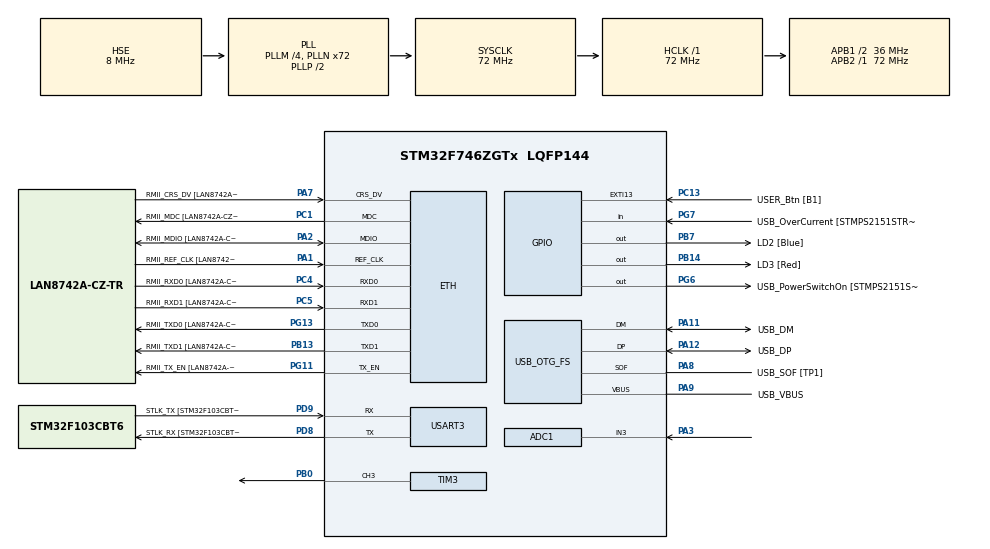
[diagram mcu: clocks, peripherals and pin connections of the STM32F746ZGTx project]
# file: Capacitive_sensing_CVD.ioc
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ADC1.Channel-0\#ChannelRegularConversion=ADC_CHANNEL_3
ADC1.NbrOfConversionFlag=1
ADC1.Rank-0\#ChannelRegularConversion=1
ADC1.SamplingTime-0\#ChannelRegularConversion=ADC_SAMPLETIME_3CYCLES
ADC1.master=1
ETH.MediaInterface=ETH_MEDIA_INTERFACE_RMII
ETH.PHY_Name=LAN8742A_PHY_ADDRESS
ETH.PHY_Value=0
ETH.PhyAddress=0
Mcu.Family=STM32F7
Mcu.Name=STM32F746ZGTx
Mcu.Package=LQFP144
NVIC.PriorityGroup=NVIC_PRIORITYGROUP_4
PA1.GPIO_Label=RMII_REF_CLK [LAN8742A-CZ-TR_REFCLK0]
PA1.Mode=RMII
PA1.Signal=ETH_REF_CLK
PA10.GPIO_Label=USB_ID
PA10.Signal=USB_OTG_FS_ID
PA11.GPIO_Label=USB_DM
PA11.Mode=Device_Only
PA11.Signal=USB_OTG_FS_DM
PA12.GPIO_Label=USB_DP
PA12.Mode=Device_Only
PA12.Signal=USB_OTG_FS_DP
PA13.GPIO_Label=TMS
PA13.Mode=Serial_Wire
PA13.Signal=SYS_JTMS-SWDIO
PA14.GPIO_Label=TCK
PA14.Mode=Serial_Wire
PA14.Signal=SYS_JTCK-SWCLK
PA2.GPIO_Label=RMII_MDIO [LAN8742A-CZ-TR_MDIO]
PA2.Mode=RMII
PA2.Signal=ETH_MDIO
PA3.Signal=ADCx_IN3
PA7.GPIO_Label=RMII_CRS_DV [LAN8742A-CZ-TR_CRS_DV]
PA7.Mode=RMII
PA7.Signal=ETH_CRS_DV
PA8.GPIO_Label=USB_SOF [TP1]
PA8.Mode=Activate_SOF_FS
PA8.Signal=USB_OTG_FS_SOF
PA9.GPIO_Label=USB_VBUS
PA9.Mode=Activate_VBUS
PA9.Signal=USB_OTG_FS_VBUS
PB0.Signal=S_TIM3_CH3
PB13.GPIO_Label=RMII_TXD1 [LAN8742A-CZ-TR_TXD1]
PB13.Mode=RMII
PB13.Signal=ETH_TXD1
PB14.GPIO_Label=LD3 [Red]
PB14.Signal=GPIO_Output
PB3.GPIO_Label=SW0
PB3.Signal=SYS_JTDO-SWO
PB7.GPIO_Label=LD2 [Blue]
PB7.Signal=GPIO_Output
PC1.GPIO_Label=RMII_MDC [LAN8742A-CZ-TR_MDC]
PC1.Mode=RMII
PC1.Signal=ETH_MDC
PC13.GPIO_Label=USER_Btn [B1]
PC13.Signal=GPXTI13
PC14/OSC32_IN.Mode=LSE-External-Oscillator
PC14/OSC32_IN.Signal=RCC_OSC32_IN
PC15/OSC32_OUT.Mode=LSE-External-Oscillator
PC15/OSC32_OUT.Signal=RCC_OSC32_OUT
PC4.GPIO_Label=RMII_RXD0 [LAN8742A-CZ-TR_RXD0]
PC4.Mode=RMII
PC4.Signal=ETH_RXD0
PC5.GPIO_Label=RMII_RXD1 [LAN8742A-CZ-TR_RXD1]
PC5.Mode=RMII
PC5.Signal=ETH_RXD1
PD8.GPIO_Label=STLK_RX [STM32F103CBT6_PA3]
PD8.Mode=Asynchronous
PD8.Signal=USART3_TX
PD9.GPIO_Label=STLK_TX [STM32F103CBT6_PA2]
PD9.Mode=Asynchronous
PD9.Signal=USART3_RX
PG11.GPIO_Label=RMII_TX_EN [LAN8742A-CZ-TR_TXEN]
PG11.Mode=RMII
PG11.Signal=ETH_TX_EN
PG13.GPIO_Label=RMII_TXD0 [LAN8742A-CZ-TR_TXD0]
PG13.Mode=RMII
PG13.Signal=ETH_TXD0
PG6.GPIO_Label=USB_PowerSwitchOn [STMPS2151STR_EN]
PG6.Signal=GPIO_Output
PG7.GPIO_Label=USB_OverCurrent [STMPS2151STR_FAULT]
PG7.Signal=GPIO_Input
PH0/OSC_IN.GPIO_Label=MCO [STM32F103CBT6_PA8]
PH0/OSC_IN.Mode=HSE-External-Clock-Source
PH0/OSC_IN.Signal=RCC_OSC_IN
PH1/OSC_OUT.Mode=HSE-External-Clock-Source
PH1/OSC_OUT.Signal=RCC_OSC_OUT
ProjectManager.HeapSize=0x200
ProjectManager.StackSize=0x400
ProjectManager.TargetToolchain=EWARM V8
RCC.48MHZClocksFreq_Value=24000000
RCC.AHBFreq_Value=72000000
RCC.APB1CLKDivider=RCC_HCLK_DIV2
RCC.APB1Freq_Value=36000000
RCC.APB1TimFreq_Value=72000000
RCC.APB2Freq_Value=72000000
RCC.APB2TimFreq_Value=72000000
RCC.CortexFreq_Value=72000000
RCC.HCLKFreq_Value=72000000
RCC.HSE_VALUE=8000000
RCC.HSI_VALUE=16000000
RCC.PLLM=4
RCC.PLLMUL=RCC_PLL_MUL9
RCC.PLLN=72
RCC.PLLQ=3
RCC.PRESCALERUSB=RCC_USBCLKSOURCE_PLL_DIV1_5
RCC.SYSCLKFreq_VALUE=72000000
RCC.SYSCLKSource=RCC_SYSCLKSOURCE_PLLCLK
RCC.SYSCLKSourceVirtual=RCC_SYSCLKSOURCE_PLLCLK
RCC.USBFreq_Value=48000000
RCC.VCOOutputFreq_Value=144000000
SH.ADCx_IN3.0=ADC1_IN3,IN3
SH.S_TIM3_CH3.0=TIM3_CH3,PWM Generation3 CH3
TIM3.AutoReloadPreload=TIM_AUTORELOAD_PRELOAD_ENABLE
TIM3.Channel-PWM\ Generation3\ CH3=TIM_CHANNEL_3
USART3.VirtualMode-Asynchronous=VM_ASYNC
USB_OTG_FS.VirtualMode=Device_Only
board=NUCLEO-F746ZG

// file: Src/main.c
/* USER CODE BEGIN Header */
/**
  ******************************************************************************
  * @file           : main.c
  * @brief          : Main program body
  ******************************************************************************
  ** This notice applies to any and all portions of this file
  * that are not between comment pairs USER CODE BEGIN and
  * USER CODE END. Other portions of this file, whether
  * inserted by the user or by software development tools
  * are owned by their respective copyright owners.
  *
  * COPYRIGHT(c) 2019 STMicroelectronics
  *
  * Redistribution and use in source and binary forms, with or without modification,
  * are permitted provided that the following conditions are met:
  *   1. Redistributions of source code must retain the above copyright notice,
  *      this list of conditions and the following disclaimer.
  *   2. Redistributions in binary form must reproduce the above copyright notice,
  *      this list of conditions and the following disclaimer in the documentation
  *      and/or other materials provided with the distribution.
  *   3. Neither the name of STMicroelectronics nor the names of its contributors
  *      may be used to endorse or promote products derived from this software
  *      without specific prior written permission.
  *
  * THIS SOFTWARE IS PROVIDED BY THE COPYRIGHT HOLDERS AND CONTRIBUTORS "AS IS"
  * AND ANY EXPRESS OR IMPLIED WARRANTIES, INCLUDING, BUT NOT LIMITED TO, THE
  * IMPLIED WARRANTIES OF MERCHANTABILITY AND FITNESS FOR A PARTICULAR PURPOSE ARE
  * DISCLAIMED. IN NO EVENT SHALL THE COPYRIGHT HOLDER OR CONTRIBUTORS BE LIABLE
  * FOR ANY DIRECT, INDIRECT, INCIDENTAL, SPECIAL, EXEMPLARY, OR CONSEQUENTIAL
  * DAMAGES (INCLUDING, BUT NOT LIMITED TO, PROCUREMENT OF SUBSTITUTE GOODS OR
  * SERVICES; LOSS OF USE, DATA, OR PROFITS; OR BUSINESS INTERRUPTION) HOWEVER
  * CAUSED AND ON ANY THEORY OF LIABILITY, WHETHER IN CONTRACT, STRICT LIABILITY,
  * OR TORT (INCLUDING NEGLIGENCE OR OTHERWISE) ARISING IN ANY WAY OUT OF THE USE
  * OF THIS SOFTWARE, EVEN IF ADVISED OF THE POSSIBILITY OF SUCH DAMAGE.
  *
  ******************************************************************************
  */
/* USER CODE END Header */

#include "main.h"

ADC_HandleTypeDef hadc1;

ETH_HandleTypeDef heth;

TIM_HandleTypeDef htim3;

UART_HandleTypeDef huart3;

PCD_HandleTypeDef hpcd_USB_OTG_FS;

void SystemClock_Config(void);
static void MX_GPIO_Init(void);
static void MX_ETH_Init(void);
static void MX_USART3_UART_Init(void);
static void MX_USB_OTG_FS_PCD_Init(void);
static void MX_ADC1_Init(void);
static void MX_TIM3_Init(void);

/* USER CODE BEGIN 0 */
uint8_t set_ADC_toVREF(ADC_HandleTypeDef *adc);
uint8_t set_ADC_toTOUCH(ADC_HandleTypeDef *adc);
uint8_t set_GND_toTOUCH(void);
uint32_t get_CAP_value(ADC_HandleTypeDef *adc);
void user_pwm3_setvalue(uint16_t value,TIM_HandleTypeDef *tim);
uint32_t ADC_out = 0;
uint32_t low = 0, low2 = 0, low3 = 0, high = 0;
/* USER CODE END 0 */

int main(void)
{

  /* MCU Configuration--------------------------------------------------------*/

  /* Reset of all peripherals, Initializes the Flash interface and the Systick. */
  HAL_Init();

  /* Configure the system clock */
  SystemClock_Config();

  /* Initialize all configured peripherals */
  MX_GPIO_Init();
  MX_ETH_Init();
  MX_USART3_UART_Init();
  MX_USB_OTG_FS_PCD_Init();
  MX_ADC1_Init();
  MX_TIM3_Init();
  /* USER CODE BEGIN 2 */
  HAL_TIM_PWM_Start(&htim3, TIM_CHANNEL_3);

  /* USER CODE END 2 */

  /* Infinite loop */
  while (1)
  {

    /* USER CODE BEGIN 3 */
    ADC_out = get_CAP_value(&hadc1);
    user_pwm3_setvalue(((250-ADC_out)*5),&htim3);
    HAL_TIM_PWM_Start(&htim3, TIM_CHANNEL_3);
    if(ADC_out < 180)
    {
      low++;

    }
    if(ADC_out < 150)
    {
      low2++;

    }
        if(ADC_out < 100)
    {
      low3++;

    }
    if(ADC_out > 210)
      {
        high++;
      }
  }
  /* USER CODE END 3 */
}

void SystemClock_Config(void)
{
  RCC_OscInitTypeDef RCC_OscInitStruct = {0};
  RCC_ClkInitTypeDef RCC_ClkInitStruct = {0};
  RCC_PeriphCLKInitTypeDef PeriphClkInitStruct = {0};

  /**Configure LSE Drive Capability
  */
  HAL_PWR_EnableBkUpAccess();
  /**Configure the main internal regulator output voltage
  */
  __HAL_RCC_PWR_CLK_ENABLE();
  __HAL_PWR_VOLTAGESCALING_CONFIG(PWR_REGULATOR_VOLTAGE_SCALE3);
  /**Initializes the CPU, AHB and APB busses clocks
  */
  RCC_OscInitStruct.OscillatorType = RCC_OSCILLATORTYPE_HSE;
  RCC_OscInitStruct.HSEState = RCC_HSE_BYPASS;
  RCC_OscInitStruct.PLL.PLLState = RCC_PLL_ON;
  RCC_OscInitStruct.PLL.PLLSource = RCC_PLLSOURCE_HSE;
  RCC_OscInitStruct.PLL.PLLM = 4;
  RCC_OscInitStruct.PLL.PLLN = 72;
  RCC_OscInitStruct.PLL.PLLP = RCC_PLLP_DIV2;
  RCC_OscInitStruct.PLL.PLLQ = 3;
  if (HAL_RCC_OscConfig(&RCC_OscInitStruct) != HAL_OK)
  {
    Error_Handler();
  }
  /**Initializes the CPU, AHB and APB busses clocks
  */
  RCC_ClkInitStruct.ClockType = RCC_CLOCKTYPE_HCLK|RCC_CLOCKTYPE_SYSCLK
                              |RCC_CLOCKTYPE_PCLK1|RCC_CLOCKTYPE_PCLK2;
  RCC_ClkInitStruct.SYSCLKSource = RCC_SYSCLKSOURCE_PLLCLK;
  RCC_ClkInitStruct.AHBCLKDivider = RCC_SYSCLK_DIV1;
  RCC_ClkInitStruct.APB1CLKDivider = RCC_HCLK_DIV2;
  RCC_ClkInitStruct.APB2CLKDivider = RCC_HCLK_DIV1;

  if (HAL_RCC_ClockConfig(&RCC_ClkInitStruct, FLASH_LATENCY_2) != HAL_OK)
  {
    Error_Handler();
  }
  PeriphClkInitStruct.PeriphClockSelection = RCC_PERIPHCLK_USART3|RCC_PERIPHCLK_CLK48;
  PeriphClkInitStruct.Usart3ClockSelection = RCC_USART3CLKSOURCE_PCLK1;
  PeriphClkInitStruct.Clk48ClockSelection = RCC_CLK48SOURCE_PLL;
  if (HAL_RCCEx_PeriphCLKConfig(&PeriphClkInitStruct) != HAL_OK)
  {
    Error_Handler();
  }
}

static void MX_ADC1_Init(void)
{

  ADC_ChannelConfTypeDef sConfig = {0};

  /**Configure the global features of the ADC (Clock, Resolution, Data Alignment and number of conversion)
  */
  hadc1.Instance = ADC1;
  hadc1.Init.ClockPrescaler = ADC_CLOCK_SYNC_PCLK_DIV2;
  hadc1.Init.Resolution = ADC_RESOLUTION_12B;
  hadc1.Init.ScanConvMode = ADC_SCAN_DISABLE;
  hadc1.Init.ContinuousConvMode = DISABLE;
  hadc1.Init.DiscontinuousConvMode = DISABLE;
  hadc1.Init.ExternalTrigConvEdge = ADC_EXTERNALTRIGCONVEDGE_NONE;
  hadc1.Init.ExternalTrigConv = ADC_SOFTWARE_START;
  hadc1.Init.DataAlign = ADC_DATAALIGN_RIGHT;
  hadc1.Init.NbrOfConversion = 1;
  hadc1.Init.DMAContinuousRequests = DISABLE;
  hadc1.Init.EOCSelection = ADC_EOC_SINGLE_CONV;
  if (HAL_ADC_Init(&hadc1) != HAL_OK)
  {
    Error_Handler();
  }
  /**Configure for the selected ADC regular channel its corresponding rank in the sequencer and its sample time.
  */
  sConfig.Channel = ADC_CHANNEL_3;
  sConfig.Rank = ADC_REGULAR_RANK_1;
  sConfig.SamplingTime = ADC_SAMPLETIME_3CYCLES;
  if (HAL_ADC_ConfigChannel(&hadc1, &sConfig) != HAL_OK)
  {
    Error_Handler();
  }

}

static void MX_ETH_Init(void)
{

   uint8_t MACAddr[6] ;

  heth.Instance = ETH;
  heth.Init.AutoNegotiation = ETH_AUTONEGOTIATION_ENABLE;
  heth.Init.PhyAddress = LAN8742A_PHY_ADDRESS;
  MACAddr[0] = 0x00;
  MACAddr[1] = 0x80;
  MACAddr[2] = 0xE1;
  MACAddr[3] = 0x00;
  MACAddr[4] = 0x00;
  MACAddr[5] = 0x00;
  heth.Init.MACAddr = &MACAddr[0];
  heth.Init.RxMode = ETH_RXPOLLING_MODE;
  heth.Init.ChecksumMode = ETH_CHECKSUM_BY_HARDWARE;
  heth.Init.MediaInterface = ETH_MEDIA_INTERFACE_RMII;

  if (HAL_ETH_Init(&heth) != HAL_OK)
  {
    Error_Handler();
  }

}

static void MX_TIM3_Init(void)
{

  TIM_MasterConfigTypeDef sMasterConfig = {0};
  TIM_OC_InitTypeDef sConfigOC = {0};

  htim3.Instance = TIM3;
  htim3.Init.Prescaler = 1;
  htim3.Init.CounterMode = TIM_COUNTERMODE_UP;
  htim3.Init.Period = 2000-1;
  htim3.Init.ClockDivision = TIM_CLOCKDIVISION_DIV1;
  htim3.Init.AutoReloadPreload = TIM_AUTORELOAD_PRELOAD_ENABLE;
  if (HAL_TIM_PWM_Init(&htim3) != HAL_OK)
  {
    Error_Handler();
  }
  sMasterConfig.MasterOutputTrigger = TIM_TRGO_RESET;
  sMasterConfig.MasterSlaveMode = TIM_MASTERSLAVEMODE_DISABLE;
  if (HAL_TIMEx_MasterConfigSynchronization(&htim3, &sMasterConfig) != HAL_OK)
  {
    Error_Handler();
  }
  sConfigOC.OCMode = TIM_OCMODE_PWM1;
  sConfigOC.Pulse = 0;
  sConfigOC.OCPolarity = TIM_OCPOLARITY_HIGH;
  sConfigOC.OCFastMode = TIM_OCFAST_DISABLE;
  if (HAL_TIM_PWM_ConfigChannel(&htim3, &sConfigOC, TIM_CHANNEL_3) != HAL_OK)
  {
    Error_Handler();
  }
  HAL_TIM_MspPostInit(&htim3);

}

static void MX_USART3_UART_Init(void)
{

  huart3.Instance = USART3;
  huart3.Init.BaudRate = 115200;
  huart3.Init.WordLength = UART_WORDLENGTH_8B;
  huart3.Init.StopBits = UART_STOPBITS_1;
  huart3.Init.Parity = UART_PARITY_NONE;
  huart3.Init.Mode = UART_MODE_TX_RX;
  huart3.Init.HwFlowCtl = UART_HWCONTROL_NONE;
  huart3.Init.OverSampling = UART_OVERSAMPLING_16;
  huart3.Init.OneBitSampling = UART_ONE_BIT_SAMPLE_DISABLE;
  huart3.AdvancedInit.AdvFeatureInit = UART_ADVFEATURE_NO_INIT;
  if (HAL_UART_Init(&huart3) != HAL_OK)
  {
    Error_Handler();
  }

}

static void MX_USB_OTG_FS_PCD_Init(void)
{

  hpcd_USB_OTG_FS.Instance = USB_OTG_FS;
  hpcd_USB_OTG_FS.Init.dev_endpoints = 6;
  hpcd_USB_OTG_FS.Init.speed = PCD_SPEED_FULL;
  hpcd_USB_OTG_FS.Init.dma_enable = DISABLE;
  hpcd_USB_OTG_FS.Init.ep0_mps = DEP0CTL_MPS_64;
  hpcd_USB_OTG_FS.Init.phy_itface = PCD_PHY_EMBEDDED;
  hpcd_USB_OTG_FS.Init.Sof_enable = ENABLE;
  hpcd_USB_OTG_FS.Init.low_power_enable = DISABLE;
  hpcd_USB_OTG_FS.Init.lpm_enable = DISABLE;
  hpcd_USB_OTG_FS.Init.vbus_sensing_enable = ENABLE;
  hpcd_USB_OTG_FS.Init.use_dedicated_ep1 = DISABLE;
  if (HAL_PCD_Init(&hpcd_USB_OTG_FS) != HAL_OK)
  {
    Error_Handler();
  }

}

static void MX_GPIO_Init(void)
{
  GPIO_InitTypeDef GPIO_InitStruct = {0};

  /* GPIO Ports Clock Enable */
  __HAL_RCC_GPIOC_CLK_ENABLE();
  __HAL_RCC_GPIOH_CLK_ENABLE();
  __HAL_RCC_GPIOA_CLK_ENABLE();
  __HAL_RCC_GPIOB_CLK_ENABLE();
  __HAL_RCC_GPIOD_CLK_ENABLE();
  __HAL_RCC_GPIOG_CLK_ENABLE();

  /*Configure GPIO pin Output Level */
  HAL_GPIO_WritePin(GPIOB, LD3_Pin|LD2_Pin, GPIO_PIN_RESET);

  /*Configure GPIO pin Output Level */
  HAL_GPIO_WritePin(USB_PowerSwitchOn_GPIO_Port, USB_PowerSwitchOn_Pin, GPIO_PIN_RESET);

  /*Configure GPIO pin : USER_Btn_Pin */
  GPIO_InitStruct.Pin = USER_Btn_Pin;
  GPIO_InitStruct.Mode = GPIO_MODE_IT_RISING;
  GPIO_InitStruct.Pull = GPIO_NOPULL;
  HAL_GPIO_Init(USER_Btn_GPIO_Port, &GPIO_InitStruct);

  /*Configure GPIO pins : LD3_Pin LD2_Pin */
  GPIO_InitStruct.Pin = LD3_Pin|LD2_Pin;
  GPIO_InitStruct.Mode = GPIO_MODE_OUTPUT_PP;
  GPIO_InitStruct.Pull = GPIO_NOPULL;
  GPIO_InitStruct.Speed = GPIO_SPEED_FREQ_LOW;
  HAL_GPIO_Init(GPIOB, &GPIO_InitStruct);

  /*Configure GPIO pin : USB_PowerSwitchOn_Pin */
  GPIO_InitStruct.Pin = USB_PowerSwitchOn_Pin;
  GPIO_InitStruct.Mode = GPIO_MODE_OUTPUT_PP;
  GPIO_InitStruct.Pull = GPIO_NOPULL;
  GPIO_InitStruct.Speed = GPIO_SPEED_FREQ_LOW;
  HAL_GPIO_Init(USB_PowerSwitchOn_GPIO_Port, &GPIO_InitStruct);

  /*Configure GPIO pin : USB_OverCurrent_Pin */
  GPIO_InitStruct.Pin = USB_OverCurrent_Pin;
  GPIO_InitStruct.Mode = GPIO_MODE_INPUT;
  GPIO_InitStruct.Pull = GPIO_NOPULL;
  HAL_GPIO_Init(USB_OverCurrent_GPIO_Port, &GPIO_InitStruct);

}

/* USER CODE BEGIN 4 */

uint8_t set_ADC_toVREF(ADC_HandleTypeDef *adc){

  ADC_ChannelConfTypeDef sConfig = {0};

  sConfig.Channel = ADC_CHANNEL_VREFINT;
  sConfig.Rank = ADC_REGULAR_RANK_1;
  sConfig.SamplingTime = ADC_SAMPLETIME_480CYCLES;

  if (HAL_ADC_ConfigChannel(adc, &sConfig) != HAL_OK)
  {
    Error_Handler();
    return 0;
  }
  HAL_Delay(25);
  return 1;
}

uint8_t set_GND_toTOUCH(void){

    GPIO_InitTypeDef GPIO_InitStruct = {0};

    GPIO_InitStruct.Pin = GPIO_PIN_3;
    GPIO_InitStruct.Mode = GPIO_MODE_OUTPUT_PP;
    GPIO_InitStruct.Pull = GPIO_NOPULL;
    HAL_GPIO_Init(GPIOA, &GPIO_InitStruct);
    HAL_GPIO_WritePin(GPIOA, GPIO_PIN_0, GPIO_PIN_RESET);

    HAL_Delay(25);

    GPIO_InitStruct.Pin = GPIO_PIN_3;
    GPIO_InitStruct.Mode = GPIO_MODE_ANALOG;
    GPIO_InitStruct.Pull = GPIO_NOPULL;
    HAL_GPIO_Init(GPIOA, &GPIO_InitStruct);

    return 1;
}

uint8_t set_ADC_toTOUCH(ADC_HandleTypeDef *adc){

  ADC_ChannelConfTypeDef sConfig = {0};

  sConfig.Channel = ADC_CHANNEL_3;
  sConfig.Rank = ADC_REGULAR_RANK_1;
  sConfig.SamplingTime = ADC_SAMPLETIME_3CYCLES;

  if (HAL_ADC_ConfigChannel(adc, &sConfig) != HAL_OK)
  {
    Error_Handler();
    return 0;
  }

  return 1;
}

uint32_t get_CAP_value(ADC_HandleTypeDef *adc){

  uint32_t cap_value = 0;

  set_ADC_toVREF(adc);
  set_GND_toTOUCH();
  set_ADC_toTOUCH(adc);
  HAL_ADC_Start(adc);
  while(HAL_ADC_PollForConversion(adc, 250) != HAL_OK)
  {
    /* do nothing , wait */
  }
  cap_value += HAL_ADC_GetValue(&hadc1);
  HAL_ADC_Stop(adc);
  HAL_ADC_Start(adc);
  while(HAL_ADC_PollForConversion(adc, 250) != HAL_OK)
  {
    /* do nothing , wait */
  }
  cap_value += HAL_ADC_GetValue(&hadc1);
  HAL_ADC_Stop(adc);
  HAL_ADC_Start(adc);
  while(HAL_ADC_PollForConversion(adc, 250) != HAL_OK)
  {
    /* do nothing , wait */
  }
  cap_value += HAL_ADC_GetValue(&hadc1);
  HAL_ADC_Stop(adc);
  HAL_ADC_Start(adc);
  while(HAL_ADC_PollForConversion(adc, 250) != HAL_OK)
  {
    /* do nothing , wait */
  }
  cap_value = +HAL_ADC_GetValue(&hadc1);
  cap_value /= 4;
  HAL_ADC_Stop(adc);

  return cap_value;
}

void user_pwm3_setvalue(uint16_t value,TIM_HandleTypeDef *tim)
{
    TIM_OC_InitTypeDef sConfigOC;

    sConfigOC.OCMode = TIM_OCMODE_PWM1;
    sConfigOC.Pulse = value;
    sConfigOC.OCPolarity = TIM_OCPOLARITY_HIGH;
    sConfigOC.OCFastMode = TIM_OCFAST_DISABLE;
    HAL_TIM_PWM_ConfigChannel(tim, &sConfigOC, TIM_CHANNEL_3);
    HAL_TIM_PWM_Start(tim, TIM_CHANNEL_1);
}
/* USER CODE END 4 */

void Error_Handler(void)
{
}

/************************ (C) COPYRIGHT STMicroelectronics *****END OF FILE****/
